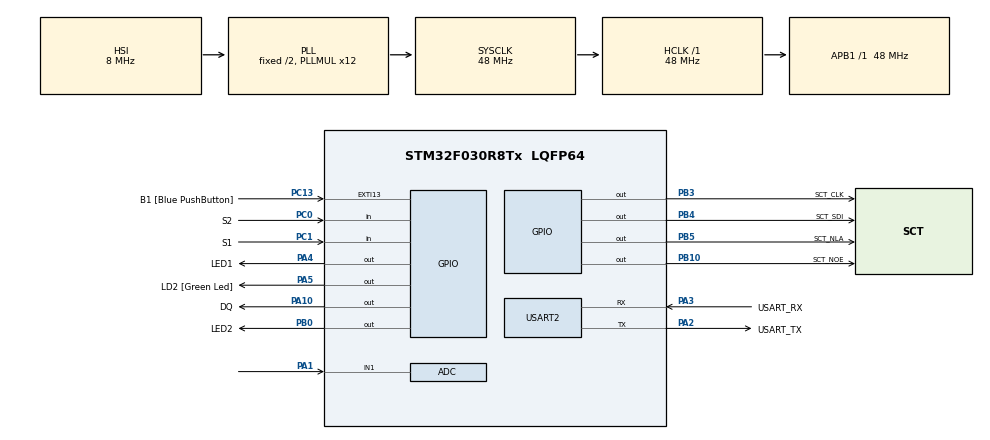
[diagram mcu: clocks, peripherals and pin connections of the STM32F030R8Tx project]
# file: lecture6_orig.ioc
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ADC.ContinuousConvMode=ENABLE
ADC.Overrun=ADC_OVR_DATA_OVERWRITTEN
ADC.Resolution=ADC_RESOLUTION_10B
Mcu.Family=STM32F0
Mcu.Name=STM32F030R8Tx
Mcu.Package=LQFP64
PA1.Mode=IN1
PA1.Signal=ADC_IN1
PA10.GPIO_Label=DQ
PA10.GPIO_ModeDefaultOutputPP=GPIO_MODE_OUTPUT_OD
PA10.GPIO_PuPd=GPIO_NOPULL
PA10.PinState=GPIO_PIN_SET
PA10.Signal=GPIO_Output
PA13.GPIO_Label=TMS
PA13.Mode=Serial_Wire
PA13.Signal=SYS_SWDIO
PA14.GPIO_Label=TCK
PA14.Mode=Serial_Wire
PA14.Signal=SYS_SWCLK
PA2.GPIO_Label=USART_TX
PA2.GPIO_Mode=GPIO_MODE_AF_PP
PA2.GPIO_PuPd=GPIO_NOPULL
PA2.GPIO_Speed=GPIO_SPEED_FREQ_LOW
PA2.Mode=Asynchronous
PA2.Signal=USART2_TX
PA3.GPIO_Label=USART_RX
PA3.GPIO_Mode=GPIO_MODE_AF_PP
PA3.GPIO_PuPd=GPIO_NOPULL
PA3.GPIO_Speed=GPIO_SPEED_FREQ_LOW
PA3.Mode=Asynchronous
PA3.Signal=USART2_RX
PA4.GPIO_Label=LED1
PA4.Signal=GPIO_Output
PA5.GPIO_Label=LD2 [Green Led]
PA5.GPIO_Mode=GPIO_MODE_OUTPUT_PP
PA5.GPIO_PuPd=GPIO_NOPULL
PA5.GPIO_Speed=GPIO_SPEED_FREQ_LOW
PA5.Signal=GPIO_Output
PB0.GPIO_Label=LED2
PB0.Signal=GPIO_Output
PB10.GPIO_Label=SCT_NOE
PB10.Signal=GPIO_Output
PB3.GPIO_Label=SCT_CLK
PB3.Signal=GPIO_Output
PB4.GPIO_Label=SCT_SDI
PB4.Signal=GPIO_Output
PB5.GPIO_Label=SCT_NLA
PB5.Signal=GPIO_Output
PC0.GPIO_Label=S2
PC0.GPIO_PuPd=GPIO_PULLUP
PC0.Signal=GPIO_Input
PC1.GPIO_Label=S1
PC1.GPIO_PuPd=GPIO_PULLUP
PC1.Signal=GPIO_Input
PC13.GPIO_Label=B1 [Blue PushButton]
PC13.GPIO_ModeDefaultEXTI=GPIO_MODE_IT_FALLING
PC13.Signal=GPXTI13
PC14-OSC32_IN.Mode=LSE-External-Oscillator
PC14-OSC32_IN.Signal=RCC_OSC32_IN
PC15-OSC32_OUT.Mode=LSE-External-Oscillator
PC15-OSC32_OUT.Signal=RCC_OSC32_OUT
PF0-OSC_IN.Mode=HSE-External-Clock-Source
PF0-OSC_IN.Signal=RCC_OSC_IN
PF1-OSC_OUT.Signal=RCC_OSC_OUT
ProjectManager.HeapSize=0x200
ProjectManager.StackSize=0x400
ProjectManager.TargetToolchain=STM32CubeIDE
RCC.AHBFreq_Value=48000000
RCC.APB1Freq_Value=48000000
RCC.APB1TimFreq_Value=48000000
RCC.HCLKFreq_Value=48000000
RCC.PLLMUL=RCC_PLL_MUL12
RCC.SYSCLKFreq_VALUE=48000000
RCC.SYSCLKSource=RCC_SYSCLKSOURCE_PLLCLK
USART2.VirtualMode-Asynchronous=VM_ASYNC
board=NUCLEO-F030R8

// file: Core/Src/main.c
/* USER CODE BEGIN Header */
/**
 ******************************************************************************
 * @file           : main.c
 * @brief          : Main program body
 ******************************************************************************
 * @attention
 *
 * Copyright (c) 2024 STMicroelectronics.
 * All rights reserved.
 *
 * This software is licensed under terms that can be found in the LICENSE file
 * in the root directory of this software component.
 * If no LICENSE file comes with this software, it is provided AS-IS.
 *
 ******************************************************************************
 */
/* USER CODE END Header */
#include "main.h"

/* USER CODE BEGIN Includes */
#include "1wire.h"
#include "sct.h"
/* USER CODE END Includes */

/* USER CODE BEGIN PD */
#define CONVERT_T_DELAY 750
#define NTC_DELAY 200
#define CONVERSION 40
/* USER CODE END PD */

ADC_HandleTypeDef hadc;

UART_HandleTypeDef huart2;

/* USER CODE BEGIN PV */
int16_t data[] = {
#include "data.dlm"
};
/* USER CODE END PV */

void SystemClock_Config(void);
static void MX_GPIO_Init(void);
static void MX_USART2_UART_Init(void);
static void MX_ADC_Init(void);

/* USER CODE BEGIN 0 */
static void button() {
	static uint32_t last_button_tick;
	static uint32_t timeNTC = 0;
	static uint32_t timeDS = 0;
	uint8_t convert = 0;
	static enum {NTC, DS18B20} state = NTC;

	if (HAL_GetTick() > last_button_tick + CONVERSION) {
		last_button_tick = HAL_GetTick();

		static uint32_t old_s2;
		static uint32_t old_s1;
		uint32_t new_s2 = HAL_GPIO_ReadPin(S2_GPIO_Port, S2_Pin);
		uint32_t new_s1 = HAL_GPIO_ReadPin(S1_GPIO_Port, S1_Pin);

		if (old_s2 && !new_s2) { // falling edge
			state = NTC;
		}
		else if(old_s1 && !new_s1){
			state = DS18B20;
		}

		// uloz nove vzorky do starsich
		old_s2 = new_s2;
		old_s1 = new_s1;
	}

	if (state == NTC) {
		HAL_GPIO_WritePin(LED1_GPIO_Port, LED1_Pin, 1);
		HAL_GPIO_WritePin(LED2_GPIO_Port, LED2_Pin, 0);

		uint32_t result;
		if (HAL_GetTick() > (timeNTC + NTC_DELAY)) {
			timeNTC = HAL_GetTick();
			result = HAL_ADC_GetValue(&hadc);
			sct_value(data[result], 0);
		}
	}
	else if (state == DS18B20) {
		HAL_GPIO_WritePin(LED1_GPIO_Port, LED1_Pin, 0);
		HAL_GPIO_WritePin(LED2_GPIO_Port, LED2_Pin, 1);

		if (!convert && (HAL_GetTick() > (timeDS + CONVERT_T_DELAY))) {
			timeDS = HAL_GetTick();
			OWConvertAll();
			convert = 1;
		}
		static int16_t value;
		if (HAL_GetTick() > (timeDS + CONVERT_T_DELAY)) {
			OWReadTemperature(&value);
			sct_value(value/10, 0);
			convert = 0;
		}
	}
}

/* USER CODE END 0 */

int main(void)
{

	/* MCU Configuration--------------------------------------------------------*/

	/* Reset of all peripherals, Initializes the Flash interface and the Systick. */
	HAL_Init();

	/* Configure the system clock */
	SystemClock_Config();

	/* Initialize all configured peripherals */
	MX_GPIO_Init();
	MX_USART2_UART_Init();
	MX_ADC_Init();
	/* USER CODE BEGIN 2 */
	OWInit();
	sct_init();

	// kalibrace ADC
	HAL_ADCEx_Calibration_Start(&hadc);
	HAL_ADC_Start(&hadc);
	/* USER CODE END 2 */

	/* Infinite loop */
	/* USER CODE BEGIN WHILE */
	while (1)
	{
		button();

		/*
	  uint32_t result;

	  result = HAL_ADC_GetValue(&hadc);
	  sct_value(data[result], 0);
	  HAL_Delay(100);

	  OWConvertAll();
	  HAL_Delay(CONVERT_T_DELAY);

	  int16_t value;
	  if(OWReadTemperature(&value)) {
		  sct_value(value/10, 0);
	  }*/

		/* USER CODE END WHILE */

	}
}

void SystemClock_Config(void)
{
	RCC_OscInitTypeDef RCC_OscInitStruct = {0};
	RCC_ClkInitTypeDef RCC_ClkInitStruct = {0};

	/** Initializes the RCC Oscillators according to the specified parameters
	 * in the RCC_OscInitTypeDef structure.
	 */
	RCC_OscInitStruct.OscillatorType = RCC_OSCILLATORTYPE_HSI|RCC_OSCILLATORTYPE_HSI14;
	RCC_OscInitStruct.HSIState = RCC_HSI_ON;
	RCC_OscInitStruct.HSI14State = RCC_HSI14_ON;
	RCC_OscInitStruct.HSICalibrationValue = RCC_HSICALIBRATION_DEFAULT;
	RCC_OscInitStruct.HSI14CalibrationValue = 16;
	RCC_OscInitStruct.PLL.PLLState = RCC_PLL_ON;
	RCC_OscInitStruct.PLL.PLLSource = RCC_PLLSOURCE_HSI;
	RCC_OscInitStruct.PLL.PLLMUL = RCC_PLL_MUL12;
	RCC_OscInitStruct.PLL.PREDIV = RCC_PREDIV_DIV1;
	if (HAL_RCC_OscConfig(&RCC_OscInitStruct) != HAL_OK)
	{
		Error_Handler();
	}

	/** Initializes the CPU, AHB and APB buses clocks
	 */
	RCC_ClkInitStruct.ClockType = RCC_CLOCKTYPE_HCLK|RCC_CLOCKTYPE_SYSCLK
			|RCC_CLOCKTYPE_PCLK1;
	RCC_ClkInitStruct.SYSCLKSource = RCC_SYSCLKSOURCE_PLLCLK;
	RCC_ClkInitStruct.AHBCLKDivider = RCC_SYSCLK_DIV1;
	RCC_ClkInitStruct.APB1CLKDivider = RCC_HCLK_DIV1;

	if (HAL_RCC_ClockConfig(&RCC_ClkInitStruct, FLASH_LATENCY_1) != HAL_OK)
	{
		Error_Handler();
	}
}

static void MX_ADC_Init(void)
{

	ADC_ChannelConfTypeDef sConfig = {0};

	/** Configure the global features of the ADC (Clock, Resolution, Data Alignment and number of conversion)
	 */
	hadc.Instance = ADC1;
	hadc.Init.ClockPrescaler = ADC_CLOCK_ASYNC_DIV1;
	hadc.Init.Resolution = ADC_RESOLUTION_10B;
	hadc.Init.DataAlign = ADC_DATAALIGN_RIGHT;
	hadc.Init.ScanConvMode = ADC_SCAN_DIRECTION_FORWARD;
	hadc.Init.EOCSelection = ADC_EOC_SINGLE_CONV;
	hadc.Init.LowPowerAutoWait = DISABLE;
	hadc.Init.LowPowerAutoPowerOff = DISABLE;
	hadc.Init.ContinuousConvMode = ENABLE;
	hadc.Init.DiscontinuousConvMode = DISABLE;
	hadc.Init.ExternalTrigConv = ADC_SOFTWARE_START;
	hadc.Init.ExternalTrigConvEdge = ADC_EXTERNALTRIGCONVEDGE_NONE;
	hadc.Init.DMAContinuousRequests = DISABLE;
	hadc.Init.Overrun = ADC_OVR_DATA_OVERWRITTEN;
	if (HAL_ADC_Init(&hadc) != HAL_OK)
	{
		Error_Handler();
	}

	/** Configure for the selected ADC regular channel to be converted.
	 */
	sConfig.Channel = ADC_CHANNEL_1;
	sConfig.Rank = ADC_RANK_CHANNEL_NUMBER;
	sConfig.SamplingTime = ADC_SAMPLETIME_1CYCLE_5;
	if (HAL_ADC_ConfigChannel(&hadc, &sConfig) != HAL_OK)
	{
		Error_Handler();
	}

}

static void MX_USART2_UART_Init(void)
{

	huart2.Instance = USART2;
	huart2.Init.BaudRate = 38400;
	huart2.Init.WordLength = UART_WORDLENGTH_8B;
	huart2.Init.StopBits = UART_STOPBITS_1;
	huart2.Init.Parity = UART_PARITY_NONE;
	huart2.Init.Mode = UART_MODE_TX_RX;
	huart2.Init.HwFlowCtl = UART_HWCONTROL_NONE;
	huart2.Init.OverSampling = UART_OVERSAMPLING_16;
	huart2.Init.OneBitSampling = UART_ONE_BIT_SAMPLE_DISABLE;
	huart2.AdvancedInit.AdvFeatureInit = UART_ADVFEATURE_NO_INIT;
	if (HAL_UART_Init(&huart2) != HAL_OK)
	{
		Error_Handler();
	}

}

static void MX_GPIO_Init(void)
{
	GPIO_InitTypeDef GPIO_InitStruct = {0};

	/* GPIO Ports Clock Enable */
	__HAL_RCC_GPIOC_CLK_ENABLE();
	__HAL_RCC_GPIOF_CLK_ENABLE();
	__HAL_RCC_GPIOA_CLK_ENABLE();
	__HAL_RCC_GPIOB_CLK_ENABLE();

	/*Configure GPIO pin Output Level */
	HAL_GPIO_WritePin(GPIOA, LED1_Pin|LD2_Pin, GPIO_PIN_RESET);

	/*Configure GPIO pin Output Level */
	HAL_GPIO_WritePin(GPIOB, LED2_Pin|SCT_NOE_Pin|SCT_CLK_Pin|SCT_SDI_Pin
			|SCT_NLA_Pin, GPIO_PIN_RESET);

	/*Configure GPIO pin Output Level */
	HAL_GPIO_WritePin(DQ_GPIO_Port, DQ_Pin, GPIO_PIN_SET);

	/*Configure GPIO pin : B1_Pin */
	GPIO_InitStruct.Pin = B1_Pin;
	GPIO_InitStruct.Mode = GPIO_MODE_IT_FALLING;
	GPIO_InitStruct.Pull = GPIO_NOPULL;
	HAL_GPIO_Init(B1_GPIO_Port, &GPIO_InitStruct);

	/*Configure GPIO pins : S2_Pin S1_Pin */
	GPIO_InitStruct.Pin = S2_Pin|S1_Pin;
	GPIO_InitStruct.Mode = GPIO_MODE_INPUT;
	GPIO_InitStruct.Pull = GPIO_PULLUP;
	HAL_GPIO_Init(GPIOC, &GPIO_InitStruct);

	/*Configure GPIO pins : LED1_Pin LD2_Pin */
	GPIO_InitStruct.Pin = LED1_Pin|LD2_Pin;
	GPIO_InitStruct.Mode = GPIO_MODE_OUTPUT_PP;
	GPIO_InitStruct.Pull = GPIO_NOPULL;
	GPIO_InitStruct.Speed = GPIO_SPEED_FREQ_LOW;
	HAL_GPIO_Init(GPIOA, &GPIO_InitStruct);

	/*Configure GPIO pins : LED2_Pin SCT_NOE_Pin SCT_CLK_Pin SCT_SDI_Pin
                           SCT_NLA_Pin */
	GPIO_InitStruct.Pin = LED2_Pin|SCT_NOE_Pin|SCT_CLK_Pin|SCT_SDI_Pin
			|SCT_NLA_Pin;
	GPIO_InitStruct.Mode = GPIO_MODE_OUTPUT_PP;
	GPIO_InitStruct.Pull = GPIO_NOPULL;
	GPIO_InitStruct.Speed = GPIO_SPEED_FREQ_LOW;
	HAL_GPIO_Init(GPIOB, &GPIO_InitStruct);

	/*Configure GPIO pin : DQ_Pin */
	GPIO_InitStruct.Pin = DQ_Pin;
	GPIO_InitStruct.Mode = GPIO_MODE_OUTPUT_OD;
	GPIO_InitStruct.Pull = GPIO_NOPULL;
	GPIO_InitStruct.Speed = GPIO_SPEED_FREQ_LOW;
	HAL_GPIO_Init(DQ_GPIO_Port, &GPIO_InitStruct);

}

void Error_Handler(void)
{
	__disable_irq();
	while (1)
	{
	}
}
